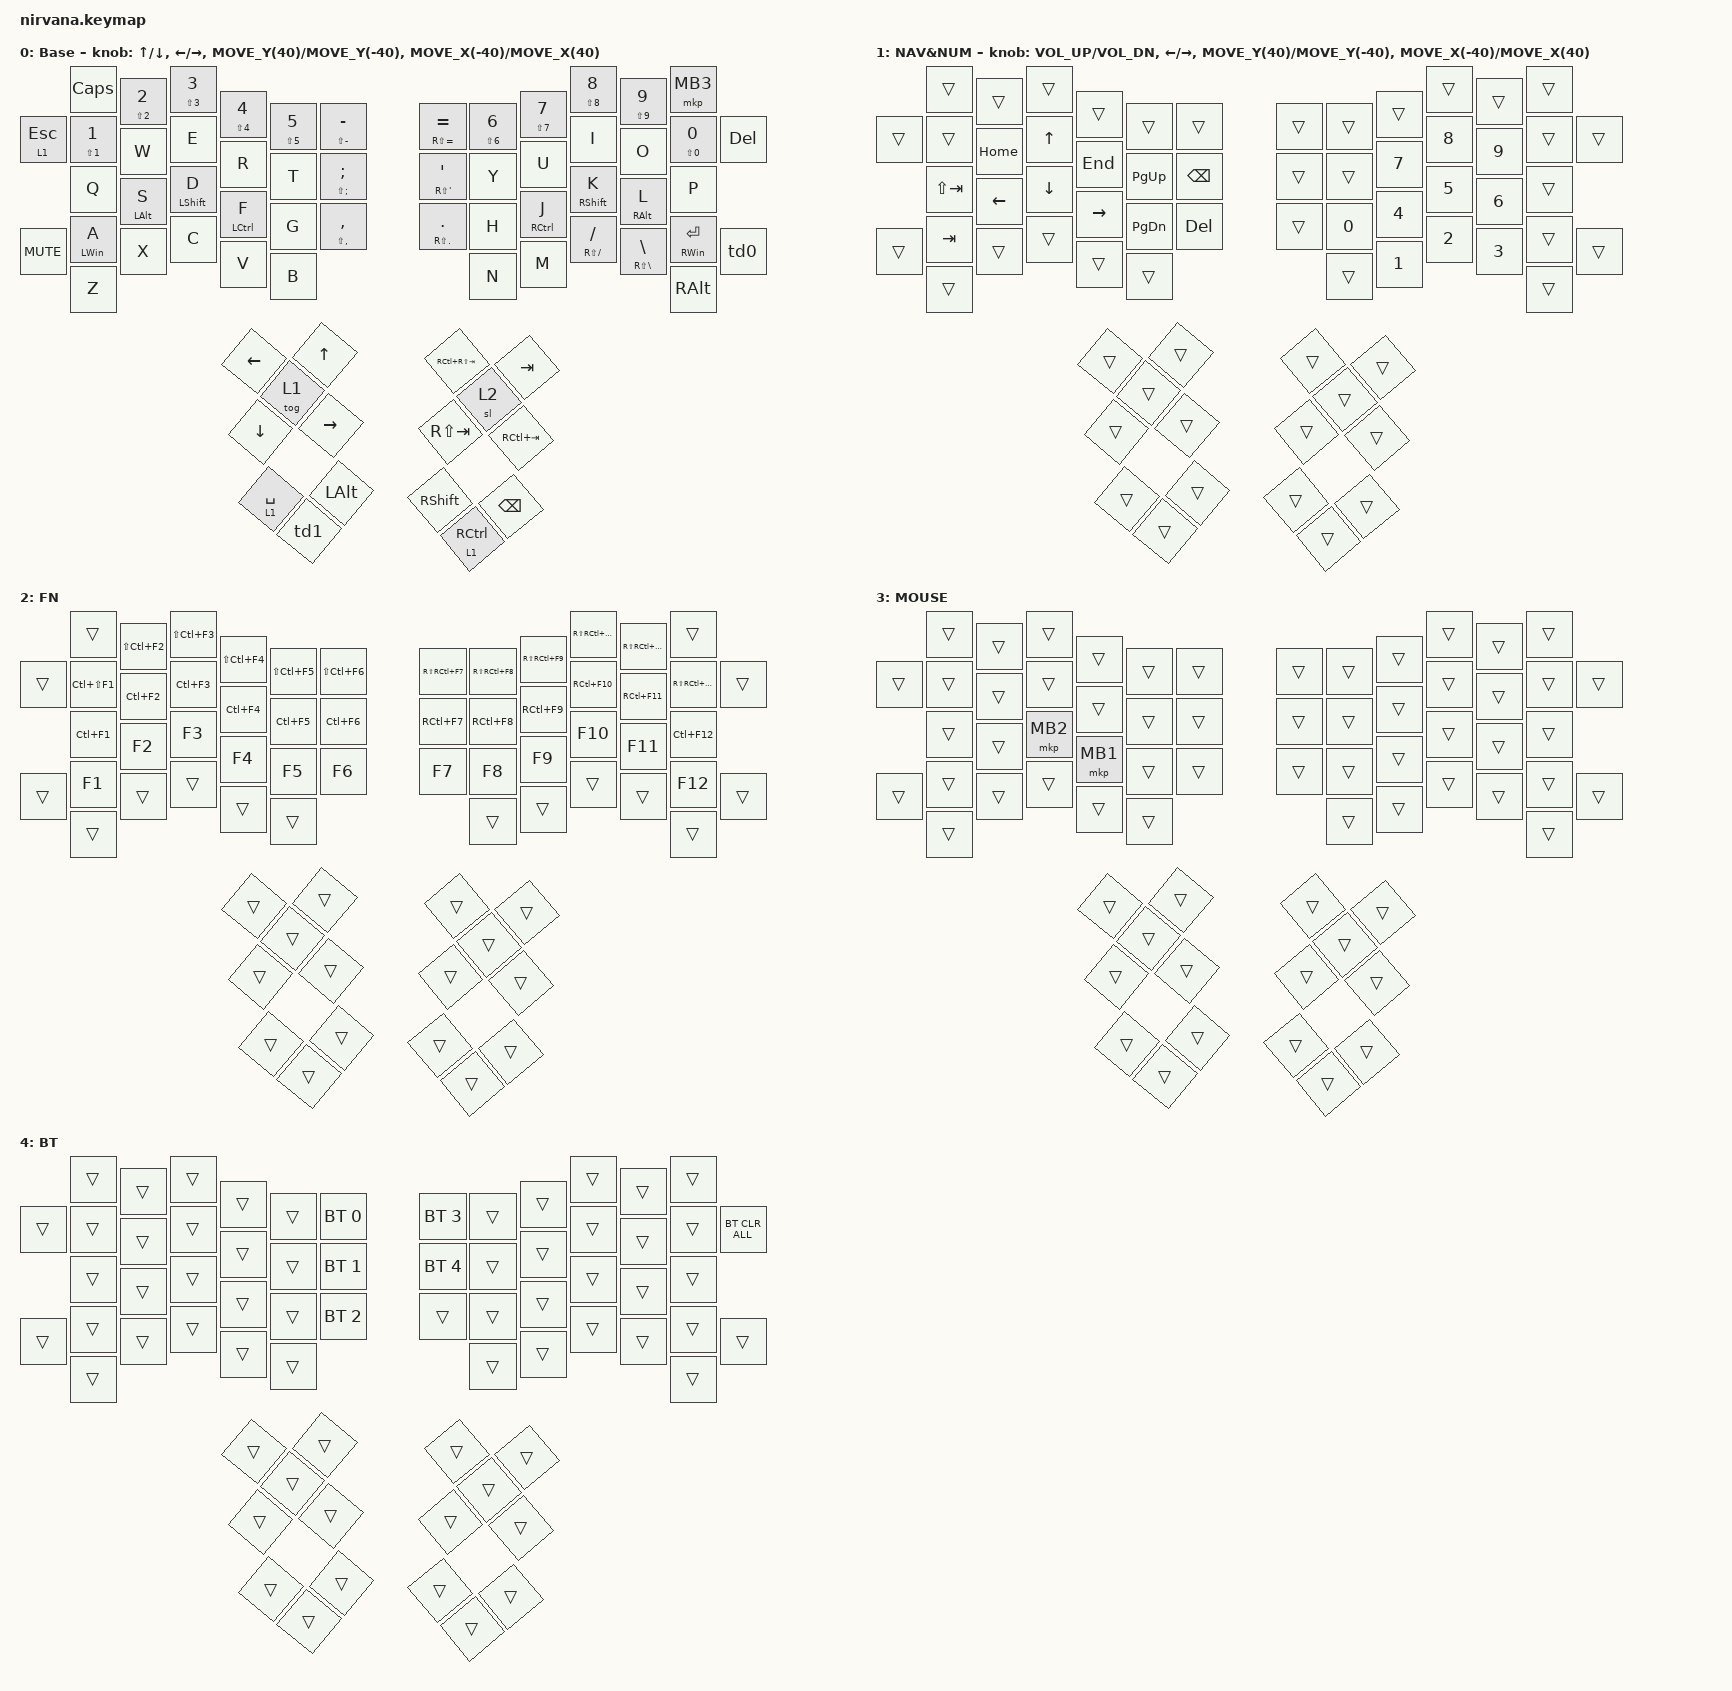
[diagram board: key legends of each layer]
#include <behaviors.dtsi>
#include <dt-bindings/zmk/bt.h>
#include <dt-bindings/zmk/keys.h>
#include <dt-bindings/zmk/pointing.h>

/ {
    combos {
        compatible = "zmk,combos";

        combo_comma {
            timeout-ms = <50>;
            key-positions = <26 27>;
            bindings = <&kp COMMA>;
            layers = <0>;
        };

        combo_period {
            timeout-ms = <50>;
            key-positions = <32 33>;
            bindings = <&kp PERIOD>;
            layers = <0 1>;
        };

        combo_lbkt {
            bindings = <&kp LEFT_BRACKET>;
            key-positions = <15 27>;
            timeout-ms = <50>;
            layers = <0>;
        };

        combo_rbkt {
            bindings = <&kp RIGHT_BRACKET>;
            key-positions = <20 32>;
            timeout-ms = <50>;
            layers = <0>;
        };

        combo_slash {
            bindings = <&kp SLASH>;
            key-positions = <27 39>;
            timeout-ms = <50>;
            layers = <0>;
        };

        combo_bslh {
            bindings = <&kp BSLH>;
            key-positions = <32 44>;
            timeout-ms = <50>;
            layers = <0>;
        };

        combo_0 {
            bindings = <&kp N0>;
            key-positions = <32 20>;
            timeout-ms = <50>;
            layers = <1>;
        };

        combo_mb3 {
            bindings = <&mkp MB3>;
            key-positions = <26 27>;
            timeout-ms = <50>;
            layers = <3>;
        };

        grave {
            bindings = <&kp GRAVE>;
            key-positions = <0 12>;
        };
    };
};

/ {
    behaviors {
        scroll: scroll {
            compatible = "zmk,behavior-sensor-rotate-var";
            #sensor-binding-cells = <2>;
            bindings = <&msc>, <&msc>;

            tap-ms = <40>;
        };

        hml: home_row_mod_left {
            compatible = "zmk,behavior-hold-tap";
            #binding-cells = <2>;
            flavor = "balanced";
            require-prior-idle-ms = <150>;
            tapping-term-ms = <280>;
            quick-tap-ms = <175>;
            bindings = <&kp>, <&kp>;

            hold-trigger-key-positions = <32 33 34 47>; // List of keys on the right side of the keyboard
            hold-trigger-on-release;
        };

        hmr: home_row_mod_right {
            compatible = "zmk,behavior-hold-tap";
            #binding-cells = <2>;
            flavor = "balanced";
            require-prior-idle-ms = <150>;
            tapping-term-ms = <280>;
            quick-tap-ms = <175>;
            bindings = <&kp>, <&kp>;

            hold-trigger-key-positions = <25 26 27 36>; // List of keys on the left side of the keyboard
            hold-trigger-on-release;
        };

        as: auto_shift {
            compatible = "zmk,behavior-hold-tap";
            #binding-cells = <2>;
            quick_tap_ms = <0>;
            flavor = "tap-preferred";
            bindings = <&kp>, <&kp>;

            tapping-term-ms = <150>;
        };

        td0: td0 {
            compatible = "zmk,behavior-tap-dance";
            label = "TD0";
            #binding-cells = <0>;
            bindings = <&kp C_PLAY_PAUSE>, <&sl 4>;
        };

        td1: td1 {
            compatible = "zmk,behavior-tap-dance";
            label = "TD1";
            #binding-cells = <0>;
            bindings = <&kp ENTER>, <&sl 2>;
        };
    };

    keymap {
        compatible = "zmk,keymap";

        default_layer {
            display-name = "Base";
            bindings = <
&lt 1 ESCAPE     &kp CAPS         &as LS(N2) N2      &as LS(N3) N3  &as LS(N4) N4    &as LS(N5) N5          &as LS(N6) N6          &as LS(N7) N7  &as LS(N8) N8    &as LS(N9) N9       &mkp MB3           &kp DELETE
&as LS(N1) N1    &kp W            &kp E              &kp R          &kp T            &as LS(MINUS) MINUS    &as RS(EQUAL) EQUAL    &kp Y          &kp U            &kp I               &kp O              &as LS(N0) N0
&kp Q            &hml LEFT_ALT S  &hml LEFT_SHIFT D  &hml LCTRL F   &kp G            &as LS(SEMI) SEMI      &as RS(SQT) SQT        &kp H          &hmr RCTRL J     &hmr RIGHT_SHIFT K  &hmr RIGHT_ALT L   &kp P
&hml LEFT_WIN A  &kp X            &kp C              &kp V          &kp B            &as LS(COMMA) COMMA    &as RS(PERIOD) PERIOD  &kp N          &kp M            &as RS(FSLH) FSLH   &as RS(BSLH) BSLH  &hmr RIGHT_WIN ENTER
&kp Z            &kp LEFT_ARROW   &kp DOWN_ARROW     &kp UP_ARROW   &kp RIGHT_ARROW  &tog 1                 &sl 2                  &kp RS(TAB)    &kp RC(RS(TAB))  &kp RC(TAB)         &kp TAB            &kp RIGHT_ALT
&kp C_MUTE       &lt 1 SPACE      &td1               &kp LEFT_ALT                                                                                 &kp RIGHT_SHIFT  &lt 1 RCTRL         &kp BACKSPACE      &td0
            >;

            sensor-bindings = <
                &inc_dec_kp UP DOWN 
                &inc_dec_kp LEFT RIGHT 
                &scroll MOVE_Y(40) MOVE_Y(-40) 
                &scroll MOVE_X(-40) MOVE_X(40)
            >;
        };

        layer_1 {
            display-name = "NAV&NUM";
            bindings = <
&trans       &trans    &trans    &trans     &trans         &trans           &trans  &trans  &trans  &trans  &trans  &trans
&trans       &kp HOME  &kp UP    &kp END    &kp PAGE_UP    &trans           &trans  &trans  &kp N7  &kp N8  &kp N9  &trans
&kp LS(TAB)  &kp LEFT  &kp DOWN  &kp RIGHT  &kp PAGE_DOWN  &kp BACKSPACE    &trans  &kp N0  &kp N4  &kp N5  &kp N6  &trans
&kp TAB      &trans    &trans    &trans     &trans         &kp DELETE       &trans  &trans  &kp N1  &kp N2  &kp N3  &trans
&trans       &trans    &trans    &trans     &trans         &trans           &trans  &trans  &trans  &trans  &trans  &trans
&trans       &trans    &trans    &trans                                                     &trans  &trans  &trans  &trans
            >;

            sensor-bindings = <
                &inc_dec_kp C_VOL_UP C_VOL_DN 
                &inc_dec_kp LEFT RIGHT 
                &scroll MOVE_Y(40) MOVE_Y(-40) 
                &scroll MOVE_X(-40) MOVE_X(40)
            >;
        };

        layer_2 {
            display-name = "FN";
            bindings = <
&trans          &trans      &kp LS(LC(F2))  &kp LS(LC(F3))  &kp LS(LC(F4))  &kp LS(LC(F5))    &kp RS(RC(F8))  &kp RS(RC(F9))  &kp RS(RC(F10))  &kp RS(RC(F11))  &trans       &trans
&kp LC(LS(F1))  &kp LC(F2)  &kp LC(F3)      &kp LC(F4)      &kp LC(F5)      &kp LS(LC(F6))    &kp RS(RC(F7))  &kp RC(F8)      &kp RC(F9)       &kp RC(F10)      &kp RC(F11)  &kp RS(RC(F12))
&kp LC(F1)      &kp F2      &kp F3          &kp F4          &kp F5          &kp LC(F6)        &kp RC(F7)      &kp F8          &kp F9           &kp F10          &kp F11      &kp LC(F12)
&kp F1          &trans      &trans          &trans          &trans          &kp F6            &kp F7          &trans          &trans           &trans           &trans       &kp F12
&trans          &trans      &trans          &trans          &trans          &trans            &trans          &trans          &trans           &trans           &trans       &trans
&trans          &trans      &trans          &trans                                                                            &trans           &trans           &trans       &trans
            >;
        };

        layer_mo {
            display-name = "MOUSE";
            bindings = <
&trans  &trans  &trans    &trans    &trans  &trans    &trans  &trans  &trans  &trans  &trans  &trans
&trans  &trans  &trans    &trans    &trans  &trans    &trans  &trans  &trans  &trans  &trans  &trans
&trans  &trans  &mkp MB2  &mkp MB1  &trans  &trans    &trans  &trans  &trans  &trans  &trans  &trans
&trans  &trans  &trans    &trans    &trans  &trans    &trans  &trans  &trans  &trans  &trans  &trans
&trans  &trans  &trans    &trans    &trans  &trans    &trans  &trans  &trans  &trans  &trans  &trans
&trans  &trans  &trans    &trans                                      &trans  &trans  &trans  &trans
            >;
        };

        layer_bt {
            display-name = "BT";
            bindings = <
&trans  &trans  &trans  &trans  &trans  &trans          &trans        &trans  &trans  &trans  &trans  &bt BT_CLR_ALL
&trans  &trans  &trans  &trans  &trans  &bt BT_SEL 0    &bt BT_SEL 3  &trans  &trans  &trans  &trans  &trans
&trans  &trans  &trans  &trans  &trans  &bt BT_SEL 1    &bt BT_SEL 4  &trans  &trans  &trans  &trans  &trans
&trans  &trans  &trans  &trans  &trans  &bt BT_SEL 2    &trans        &trans  &trans  &trans  &trans  &trans
&trans  &trans  &trans  &trans  &trans  &trans          &trans        &trans  &trans  &trans  &trans  &trans
&trans  &trans  &trans  &trans                                                &trans  &trans  &trans  &trans
            >;
        };
    };
};
